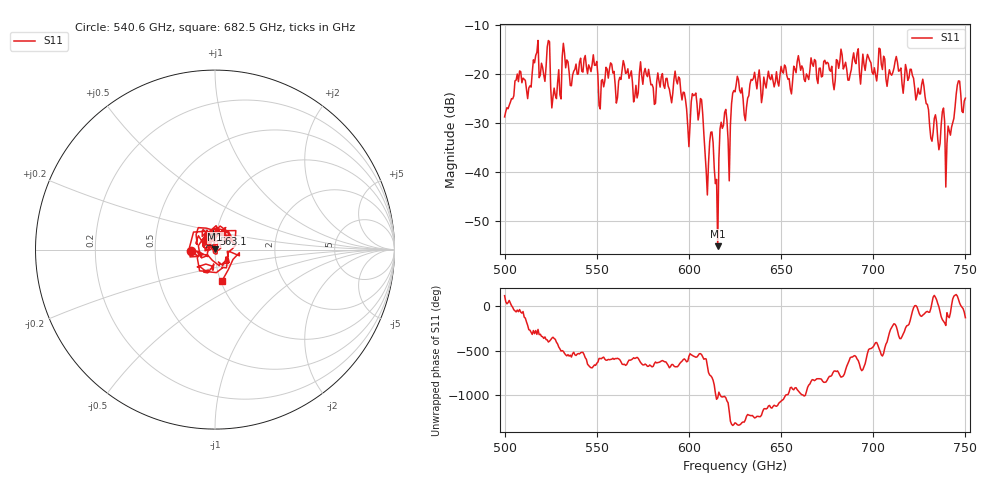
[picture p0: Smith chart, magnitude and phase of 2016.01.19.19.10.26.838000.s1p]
!Created with skrf (http://scikit-rf.org).
# GHz S RI R 50.0
!freq ReS11 ImS11
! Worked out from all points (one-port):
!   401 points, 500 GHz to 750 GHz, reference 50 ohm
!   lowest |S11| = -55.1 dB at 615.6 GHz (marker M1), VSWR 1.00, Z = 50.1 + j0.134 ohm
!   |S11| at or under -10 dB: start of sweep to end of sweep
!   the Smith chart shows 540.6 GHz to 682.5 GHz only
!   S11 on the Smith chart (normalised r, x): 540.6 GHz: 0.77, -0.01; 563.1 GHz: 0.97, +0.17; 682.5 GHz: 1.01, -0.37
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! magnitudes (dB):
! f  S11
! 500 GHz  -28.7
! 507.5 GHz  -21.5
! 513.1 GHz  -22.9
! 516.9 GHz  -16.2
! 523.8 GHz  -13.2
! 526.9 GHz  -22.9
! 531.2 GHz  -16.5
! 540.6 GHz  -17.6
! 562.5 GHz  -20.7
! 563.1 GHz  -21.1
! 593.8 GHz  -22.0
! 599.4 GHz  -30.6
! 606.2 GHz  -25.0
! 609.4 GHz  -39.8
! 612.5 GHz  -31.8
! 615.6 GHz  -55.1
! 618.1 GHz  -31.1
! 621.9 GHz  -41.8
! 625 GHz  -23.6
! 630.6 GHz  -29.5
! 635 GHz  -20.9
! 656.2 GHz  -21.5
! 682.5 GHz  -14.9
! 687.5 GHz  -20.0
! 718.8 GHz  -21.3
! 740.6 GHz  -30.6
! 745.6 GHz  -22.3
! 750 GHz  -24.9
